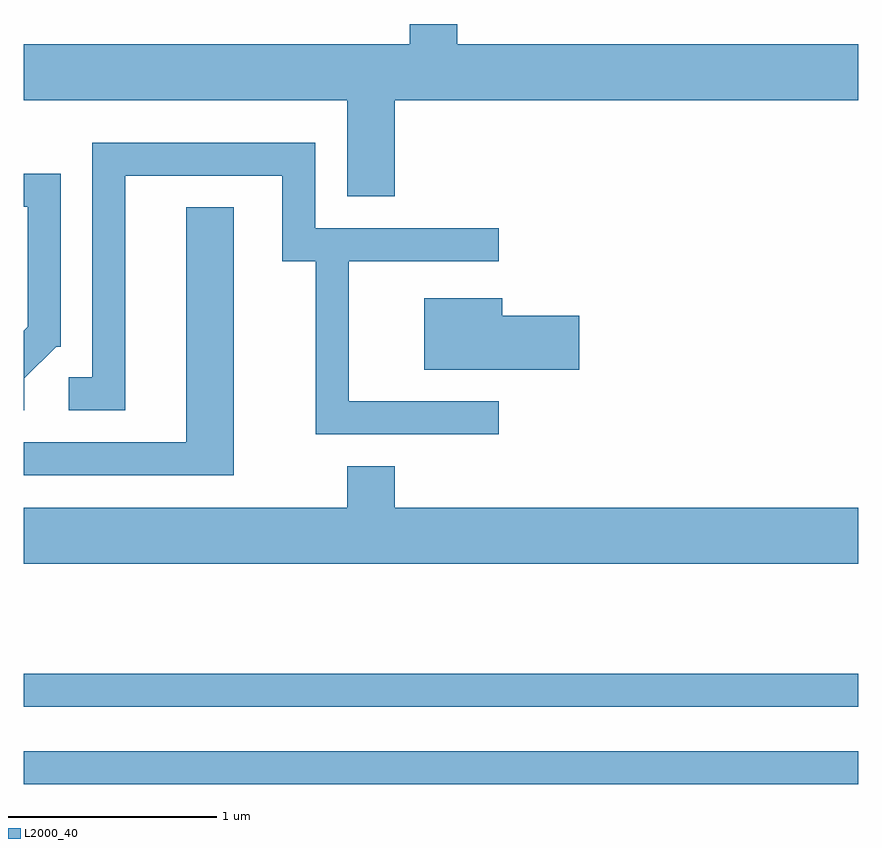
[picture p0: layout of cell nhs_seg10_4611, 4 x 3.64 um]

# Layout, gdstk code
import gdstk
lib = gdstk.Library(unit=1e-6, precision=1e-09)
def R(c, l, rs):  # rectangles x0, y0, x1, y1
    for r in rs: c.add(gdstk.rectangle(r[:2], r[2:], *l))
def P(c, l, *ps):  # polygons
    for p in ps: c.add(gdstk.Polygon(p, *l))
L2000_40 = (2000, 40)

nhs_seg10_4611 = lib.new_cell('nhs_seg10_4611')
R(nhs_seg10_4611, L2000_40, [(321.611,2092.881,325.611,2093.039), (321.611,2093.251,325.611,2093.409)])
P(nhs_seg10_4611, L2000_40, [(323.389,2096.156),(325.611,2096.156),(325.611,2096.424),(323.689,2096.424),(323.689,2096.522),(323.461,2096.522),(323.461,2096.424),(321.611,2096.424),(321.611,2096.156),(323.161,2096.156),(323.161,2095.696),(323.389,2095.696)],
  [(323.888,2094.714),(323.169,2094.714),(323.169,2095.386),(323.888,2095.386),(323.888,2095.544),(323.009,2095.544),(323.009,2095.954),(321.941,2095.954),(321.941,2094.829),(321.828,2094.829),(321.828,2094.671),(322.099,2094.671),(322.099,2095.796),(322.851,2095.796),(322.851,2095.386),(323.011,2095.386),(323.011,2094.556),(323.888,2094.556)],
  [(321.614,2094.824),(321.767,2094.976),(321.789,2094.976),(321.789,2095.804),(321.611,2095.804),(321.611,2095.646),(321.631,2095.646),(321.631,2095.072),(321.611,2095.052),(321.611,2094.671),(321.614,2094.671)],
  [(322.619,2095.644),(322.391,2095.644),(322.391,2094.519),(321.611,2094.519),(321.611,2094.361),(322.619,2094.361)],
  [(324.274,2095.124),(323.904,2095.124),(323.904,2095.209),(323.531,2095.209),(323.531,2094.866),(324.274,2094.866)],
  [(325.611,2094.204),(323.389,2094.204),(323.389,2094.404),(323.161,2094.404),(323.161,2094.204),(321.611,2094.204),(321.611,2093.936),(325.611,2093.936)])

lib.write_gds('nhs_seg10_4611.gds')
